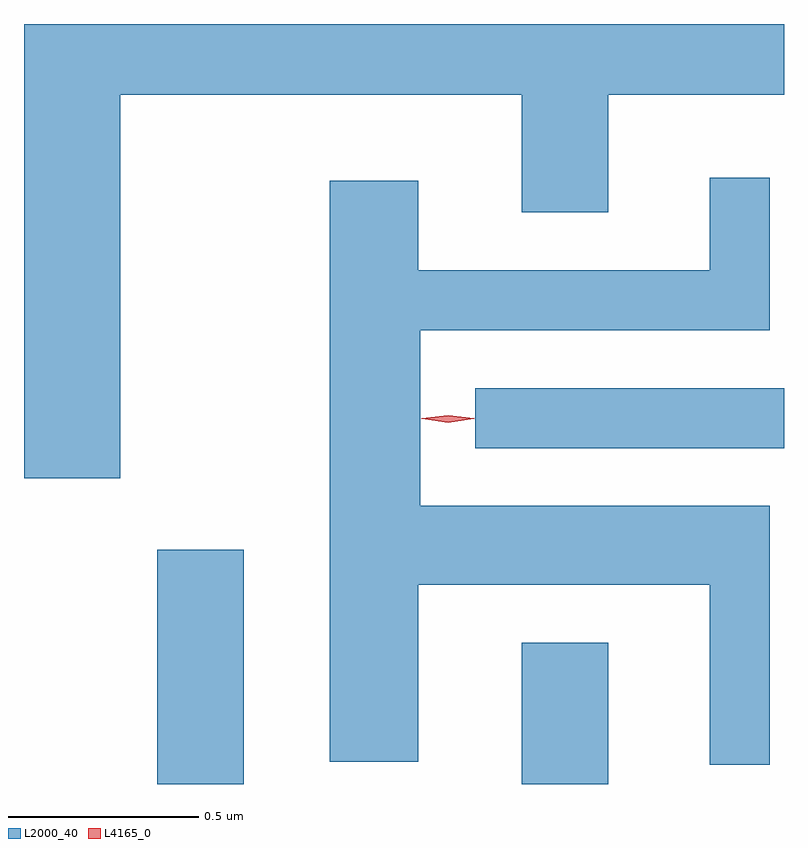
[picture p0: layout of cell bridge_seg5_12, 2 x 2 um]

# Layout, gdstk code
import gdstk
lib = gdstk.Library(unit=1e-6, precision=1e-09)
def R(c, l, rs):  # rectangles x0, y0, x1, y1
    for r in rs: c.add(gdstk.rectangle(r[:2], r[2:], *l))
def P(c, l, *ps):  # polygons
    for p in ps: c.add(gdstk.Polygon(p, *l))
L2000_40 = (2000, 40)
L4165_0 = (4165, 0)

bridge_seg5_12 = lib.new_cell('bridge_seg5_12')
R(bridge_seg5_12, L2000_40, [(1788.821,1399.482,1789.049,1400.099), (1789.781,1399.482,1790.009,1399.854), (1789.658,1400.366,1790.471,1400.524)])
P(bridge_seg5_12, L2000_40, [(1788.724,1401.296),(1789.781,1401.296),(1789.781,1400.986),(1790.009,1400.986),(1790.009,1401.296),(1790.471,1401.296),(1790.471,1401.482),(1788.471,1401.482),(1788.471,1400.286),(1788.724,1400.286)],
  [(1790.434,1400.214),(1789.514,1400.214),(1789.514,1400.676),(1790.434,1400.676),(1790.434,1401.078),(1790.276,1401.078),(1790.276,1400.834),(1789.509,1400.834),(1789.509,1401.069),(1789.276,1401.069),(1789.276,1399.541),(1789.509,1399.541),(1789.509,1400.006),(1790.276,1400.006),(1790.276,1399.533),(1790.434,1399.533)])
P(bridge_seg5_12, L4165_0, [(1789.587,1400.433),(1789.518,1400.443),(1789.517,1400.443),(1789.518,1400.444),(1789.587,1400.453),(1789.656,1400.444),(1789.656,1400.443),(1789.656,1400.443)],
  [(1789.587,1400.433),(1789.521,1400.443),(1789.52,1400.443),(1789.521,1400.444),(1789.587,1400.453),(1789.652,1400.444),(1789.653,1400.443),(1789.652,1400.443)])

lib.write_gds('bridge_seg5_12.gds')
